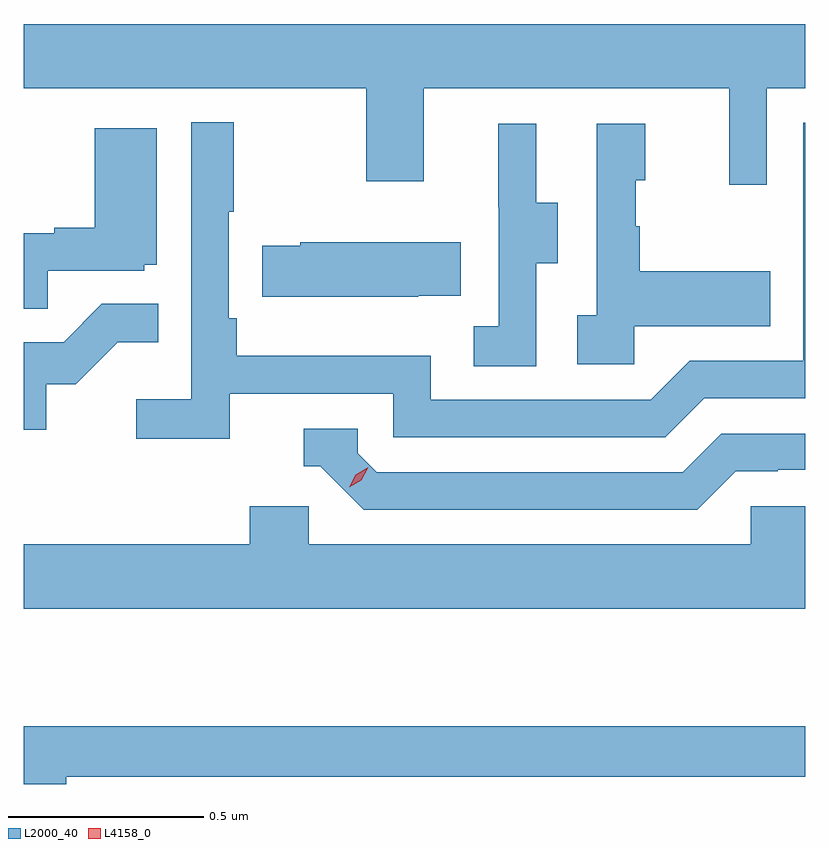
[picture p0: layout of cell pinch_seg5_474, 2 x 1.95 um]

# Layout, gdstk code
import gdstk
lib = gdstk.Library(unit=1e-6, precision=1e-09)
def P(c, l, *ps):  # polygons
    for p in ps: c.add(gdstk.Polygon(p, *l))
L2000_40 = (2000, 40)
L4158_0 = (4158, 0)

pinch_seg5_474 = lib.new_cell('pinch_seg5_474')
P(pinch_seg5_474, L2000_40, [(893.235,856.76),(893.333,856.76),(893.333,856.924),(891.333,856.924),(891.333,856.76),(892.21,856.76),(892.21,856.521),(892.357,856.521),(892.357,856.76),(893.138,856.76),(893.138,856.512),(893.235,856.512)],
  [(891.86,855.978),(892.278,855.978),(892.278,855.867),(892.975,855.867),(893.074,855.966),(893.333,855.966),(893.333,856.671),(893.328,856.671),(893.328,856.062),(893.037,856.062),(892.938,855.963),(892.374,855.963),(892.374,856.075),(891.878,856.075),(891.878,856.171),(891.858,856.171),(891.858,856.444),(891.871,856.444),(891.871,856.672),(891.762,856.672),(891.762,855.964),(891.621,855.964),(891.621,855.862),(891.86,855.862)],
  [(892.644,856.312),(892.699,856.312),(892.699,856.467),(892.645,856.467),(892.645,856.669),(892.547,856.669),(892.547,856.455),(892.548,856.455),(892.548,856.151),(892.485,856.151),(892.485,856.048),(892.644,856.048)],
  [(892.896,856.151),(893.243,856.151),(893.243,856.291),(892.909,856.291),(892.909,856.406),(892.899,856.406),(892.899,856.524),(892.924,856.524),(892.924,856.669),(892.8,856.669),(892.8,856.178),(892.749,856.178),(892.749,856.053),(892.896,856.053)],
  [(891.395,856.293),(891.642,856.293),(891.642,856.308),(891.673,856.308),(891.673,856.657),(891.515,856.657),(891.515,856.402),(891.411,856.402),(891.411,856.389),(891.333,856.389),(891.333,856.195),(891.395,856.195)],
  [(892.343,856.229),(892.451,856.229),(892.451,856.366),(892.041,856.366),(892.041,856.356),(891.943,856.356),(891.943,856.226),(892.343,856.226)],
  [(891.39,856.002),(891.466,856.002),(891.573,856.109),(891.677,856.109),(891.677,856.208),(891.533,856.208),(891.435,856.11),(891.333,856.11),(891.333,855.885),(891.39,855.885)],
  [(893.155,855.78),(893.262,855.78),(893.262,855.783),(893.333,855.783),(893.333,855.876),(893.118,855.876),(893.019,855.777),(892.236,855.777),(892.188,855.825),(892.188,855.888),(892.049,855.888),(892.049,855.792),(892.092,855.792),(892.203,855.681),(893.056,855.681)],
  [(893.333,855.69),(893.193,855.69),(893.193,855.592),(892.062,855.592),(892.062,855.69),(891.911,855.69),(891.911,855.592),(891.333,855.592),(891.333,855.428),(893.333,855.428)],
  [(891.442,854.998),(893.333,854.998),(893.333,855.127),(891.333,855.127),(891.333,854.979),(891.442,854.979)])
P(pinch_seg5_474, L4158_0, [(892.166,855.738),(892.166,855.738),(892.183,855.77),(892.214,855.79),(892.214,855.79),(892.214,855.789),(892.197,855.757),(892.166,855.738)])

lib.write_gds('pinch_seg5_474.gds')
